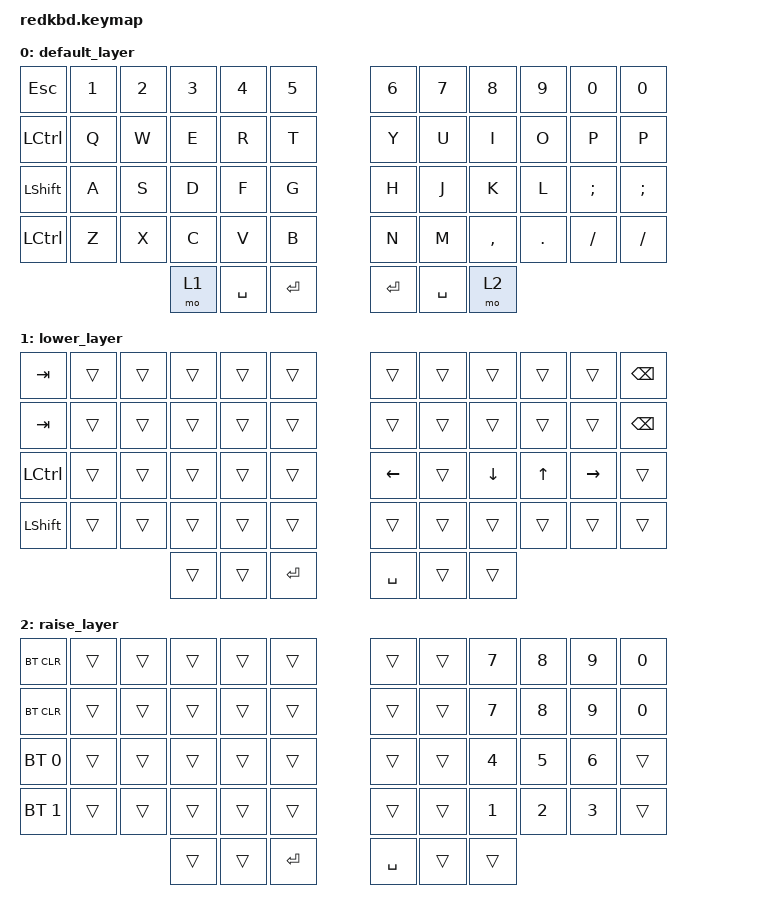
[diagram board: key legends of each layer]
#include <behaviors.dtsi>
#include <dt-bindings/zmk/keys.h>
#include <dt-bindings/zmk/bt.h>
#include <dt-bindings/zmk/outputs.h>

/ {
    keymap {
        compatible = "zmk,keymap";

        default_layer {
            // -------------------------------------------------------------------------------------------------------------------------
            // |     1     |     2     |     3     |     4     |     5     |     6     |     7     |     8     |     9     |     0     |
            // |     Q     |     W     |     E     |     R     |     T     |     Y     |     U     |     I     |     O     |     P     |
            // |     A     |     S     |     D     |     F     |     G     |     H     |     J     |     K     |     L     |     ;     |
            // |     Z     |     X     |     C     |     V     |     B     |     N     |     M     |     ,     |     .     |     /     |
            //                                     |    DOWN   |    RET    |    SPC    |    UP     |
            bindings = <
                &kp ESC   &kp 1     &kp 2     &kp 3     &kp 4     &kp 5     &kp 6     &kp 7     &kp 8     &kp 9     &kp 0    &kp 0   
                &kp LCTRL &kp Q     &kp W     &kp E     &kp R     &kp T     &kp Y     &kp U     &kp I     &kp O     &kp P    &kp P   
                &kp LSHFT &kp A     &kp S     &kp D     &kp F     &kp G     &kp H     &kp J     &kp K     &kp L     &kp SEMI &kp SEMI
                &kp LCTRL &kp Z     &kp X     &kp C     &kp V     &kp B     &kp N     &kp M     &kp COMMA &kp DOT   &kp FSLH &kp FSLH
                                              &mo 1     &kp SPACE &kp RET   &kp RET   &kp SPACE &mo 2
            >;
        };

        lower_layer {
            // -------------------------------------------------------------------------------------------------------------------------
            // |    TAB    |           |           |           |           |           |           |           |           |    BSPC   |
            // |    CTRL   |           |           |           |           |           |           |           |           |           |
            // |    SHFT   |           |           |           |           |           |           |           |           |           |
            //                                     |           |    RET    |    SPC    |           |
            bindings = <
                &kp TAB   &trans    &trans    &trans    &trans    &trans    &trans    &trans    &trans    &trans    &trans    &kp BSPC
                &kp TAB   &trans    &trans    &trans    &trans    &trans    &trans    &trans    &trans    &trans    &trans    &kp BSPC
                &kp LCTRL &trans    &trans    &trans    &trans    &trans    &kp LEFT  &trans    &kp DOWN  &kp UP    &kp RIGHT &trans
                &kp LSHFT &trans    &trans    &trans    &trans    &trans    &trans    &trans    &trans    &trans    &trans    &trans
                                              &trans    &trans    &kp RET   &kp SPACE &trans    &trans
            >;
        };

        raise_layer {
            // -------------------------------------------------------------------------------------------------------------------------
            // |           |           |           |           |           |           |     7     |     8     |     9     |     0     |
            // |           |           |           |           |           |           |     4     |     5     |     6     |           |
            // |           |           |           |           |           |           |     1     |     2     |     3     |           |
            //                                     |           |    RET    |    SPC    |           |
            bindings = <
                &bt BT_CLR   &trans    &trans    &trans    &trans    &trans    &trans    &trans    &kp N7    &kp N8    &kp N9    &kp N0
                &bt BT_CLR   &trans    &trans    &trans    &trans    &trans    &trans    &trans    &kp N7    &kp N8    &kp N9    &kp N0
                &bt BT_SEL 0 &trans    &trans    &trans    &trans    &trans    &trans    &trans    &kp N4    &kp N5    &kp N6    &trans
                &bt BT_SEL 1 &trans    &trans    &trans    &trans    &trans    &trans    &trans    &kp N1    &kp N2    &kp N3    &trans
                                                 &trans    &trans    &kp RET   &kp SPACE &trans    &trans
            >;
        };
    };
 };
